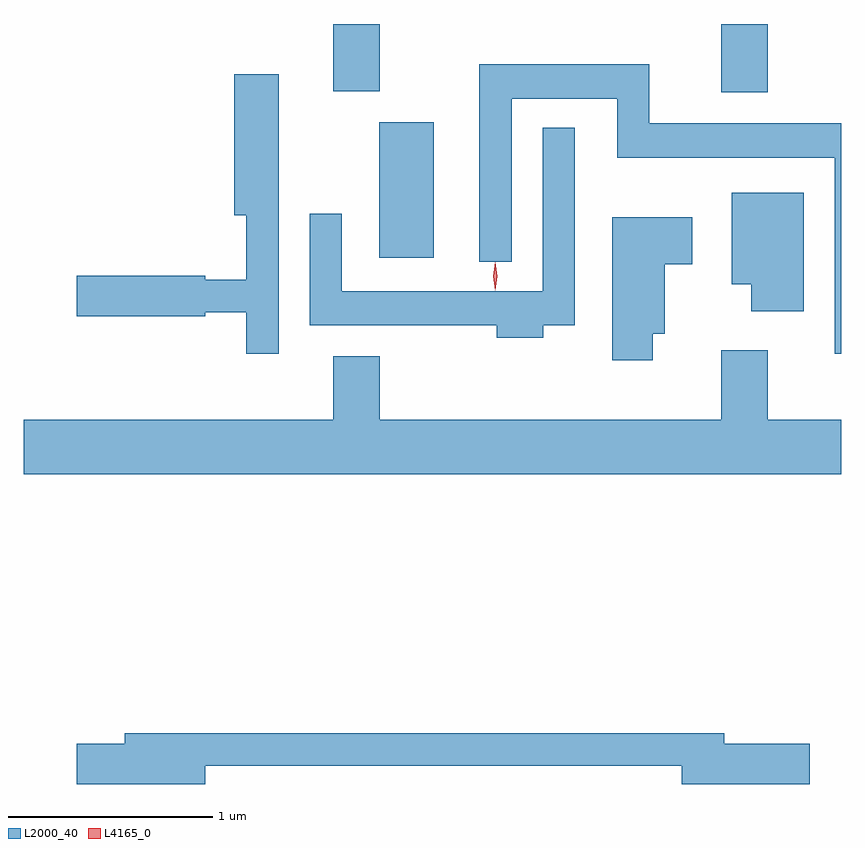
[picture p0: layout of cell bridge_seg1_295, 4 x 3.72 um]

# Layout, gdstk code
import gdstk
lib = gdstk.Library(unit=1e-6, precision=1e-09)
def R(c, l, rs):  # rectangles x0, y0, x1, y1
    for r in rs: c.add(gdstk.rectangle(r[:2], r[2:], *l))
def P(c, l, *ps):  # polygons
    for p in ps: c.add(gdstk.Polygon(p, *l))
L2000_40 = (2000, 40)
L4165_0 = (4165, 0)

bridge_seg1_295 = lib.new_cell('bridge_seg1_295')
R(bridge_seg1_295, L2000_40, [(888.296,873.996,888.564,874.659), (889.971,874.806,890.199,875.141), (888.071,874.811,888.299,875.141)])
P(bridge_seg1_295, L2000_40, [(890.557,874.654),(889.619,874.654),(889.619,874.944),(888.786,874.944),(888.786,873.978),(888.944,873.978),(888.944,874.776),(889.461,874.776),(889.461,874.486),(890.526,874.486),(890.526,873.528),(890.557,873.528)],
  [(887.804,874.894),(887.586,874.894),(887.586,874.206),(887.646,874.206),(887.646,873.889),(887.444,873.889),(887.444,873.909),(886.816,873.909),(886.816,873.711),(887.444,873.711),(887.444,873.731),(887.646,873.731),(887.646,873.528),(887.804,873.528)],
  [(889.099,873.666),(889.254,873.666),(889.254,874.633),(889.096,874.633),(889.096,873.834),(888.114,873.834),(888.114,874.213),(887.956,874.213),(887.956,873.666),(888.871,873.666),(888.871,873.606),(889.099,873.606)],
  [(890.374,874.314),(890.021,874.314),(890.021,873.866),(890.116,873.866),(890.116,873.736),(890.374,873.736)],
  [(889.634,873.626),(889.694,873.626),(889.694,873.966),(889.829,873.966),(889.829,874.194),(889.436,874.194),(889.436,873.496),(889.634,873.496)],
  [(890.557,873.204),(890.199,873.204),(890.199,873.544),(889.971,873.544),(889.971,873.204),(888.299,873.204),(888.299,873.514),(888.071,873.514),(888.071,873.204),(886.557,873.204),(886.557,872.936),(890.557,872.936)],
  [(887.444,871.511),(889.776,871.511),(889.776,871.421),(890.404,871.421),(890.404,871.619),(889.984,871.619),(889.984,871.669),(887.051,871.669),(887.051,871.619),(886.816,871.619),(886.816,871.421),(887.444,871.421)])
P(bridge_seg1_295, L4165_0, [(888.864,873.837),(888.855,873.906),(888.864,873.976),(888.865,873.976),(888.865,873.976),(888.875,873.906),(888.865,873.837),(888.865,873.837)],
  [(888.864,873.839),(888.864,873.84),(888.854,873.906),(888.864,873.972),(888.864,873.973),(888.865,873.972),(888.874,873.906),(888.865,873.84)])

lib.write_gds('bridge_seg1_295.gds')
